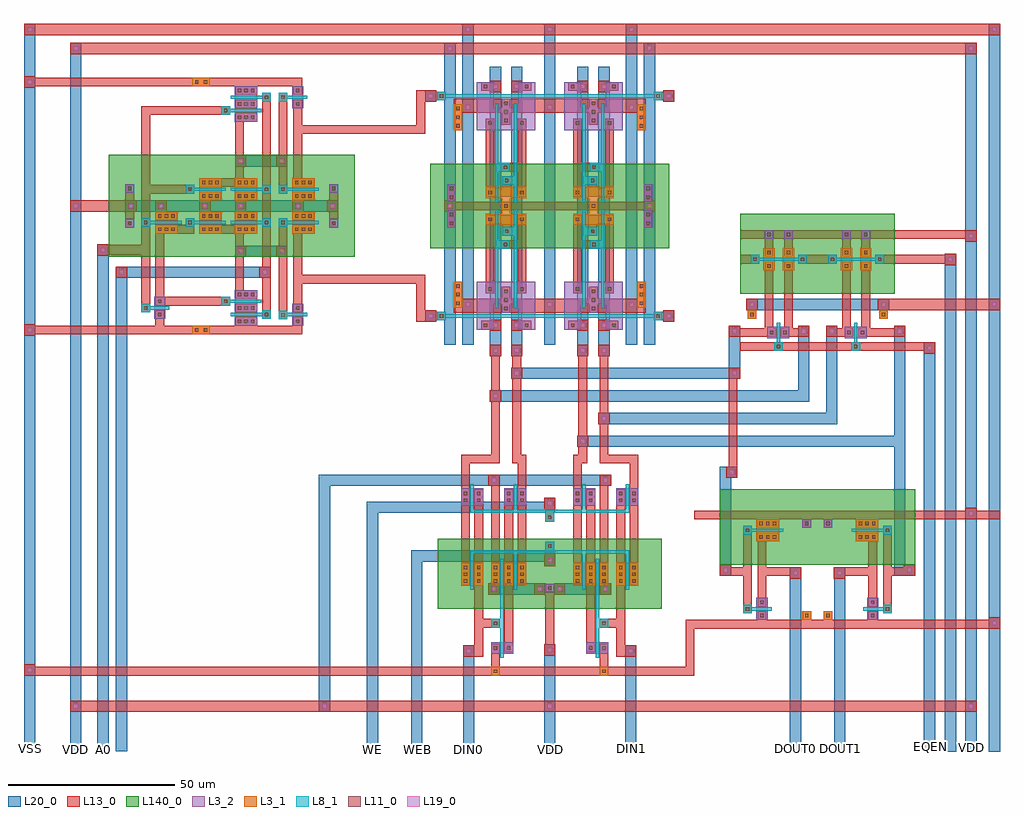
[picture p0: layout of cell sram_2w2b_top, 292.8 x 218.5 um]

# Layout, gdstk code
from math import pi, radians
import gdstk
lib = gdstk.Library(unit=1e-6, precision=1e-07)
def R(c, l, rs):  # rectangles x0, y0, x1, y1
    for r in rs: c.add(gdstk.rectangle(r[:2], r[2:], *l))
def A(c, l, x, y, w, h, nx, ny, dx, dy):  # array of equal rectangles
    R(c, l, [(x+i*dx, y+j*dy, x+i*dx+w, y+j*dy+h) for i in range(nx) for j in range(ny)])
def P(c, l, *ps):  # polygons
    for p in ps: c.add(gdstk.Polygon(p, *l))
L3_1 = (3, 1)
L3_2 = (3, 2)
L8_1 = (8, 1)
L11_0 = (11, 0)
L13_0 = (13, 0)
L19_0 = (19, 0)
L20_0 = (20, 0)
L140_0 = (140, 0)

fet_n = lib.new_cell('fet_n')
R(fet_n, L3_2, [(-3.3,-1.7,3.3,1.7)])
R(fet_n, L11_0, [(-2.5,-0.5,-1.5,0.5), (1.5,-0.5,2.5,0.5)])
R(fet_n, L13_0, [(-3.3,-1.3,-0.7,1.3), (0.7,-1.3,3.3,1.3)])
fet_n.add(gdstk.FlexPath([(0,-2.9),(0,2.9)], 1, ends="flush", simple_path=True, layer=8, datatype=1))  # L8_1

fet_p = lib.new_cell('fet_p')
R(fet_p, L3_1, [(-3.3,-3.4,3.3,3.4)])
A(fet_p, L11_0, -2.5, -2.5, 1, 1, 1, 3, 0, 2)
A(fet_p, L11_0, 1.5, -2.5, 1, 1, 1, 3, 0, 2)
R(fet_p, L13_0, [(-3.3,-3.3,-0.7,3.3), (0.7,-3.3,3.3,3.3)])
fet_p.add(gdstk.FlexPath([(0,-4.6),(0,4.6)], 1, ends="flush", simple_path=True, layer=8, datatype=1))  # L8_1

cont_g = lib.new_cell('cont_g')
R(cont_g, L8_1, [(-1.3,-1.3,1.3,1.3)])
R(cont_g, L11_0, [(-0.5,-0.5,0.5,0.5)])
R(cont_g, L13_0, [(-1.3,-1.3,1.3,1.3)])

fet_n_1 = lib.new_cell('fet_n$1')
R(fet_n_1, L3_2, [(-3.3,-3.4,3.3,3.4)])
A(fet_n_1, L11_0, -2.5, -2.5, 1, 1, 1, 3, 0, 2)
A(fet_n_1, L11_0, 1.5, -2.5, 1, 1, 1, 3, 0, 2)
R(fet_n_1, L13_0, [(-3.3,-3.3,-0.7,3.3), (0.7,-3.3,3.3,3.3)])
fet_n_1.add(gdstk.FlexPath([(0,-4.6),(0,4.6)], 1, ends="flush", simple_path=True, layer=8, datatype=1))  # L8_1

cont_p = lib.new_cell('cont_p')
R(cont_p, L3_1, [(-1.3,-1.3,1.3,1.3)])
R(cont_p, L11_0, [(-0.5,-0.5,0.5,0.5)])
R(cont_p, L13_0, [(-1.3,-1.3,1.3,1.3)])

via_1 = lib.new_cell('via_1')
R(via_1, L13_0, [(-1.7,-1.7,1.7,1.7)])
R(via_1, L19_0, [(-0.7,-0.7,0.7,0.7)])
R(via_1, L20_0, [(-1.7,-1.7,1.7,1.7)])

cont_n = lib.new_cell('cont_n')
R(cont_n, L3_2, [(-1.3,-1.3,1.3,1.3)])
R(cont_n, L11_0, [(-0.5,-0.5,0.5,0.5)])
R(cont_n, L13_0, [(-1.3,-1.3,1.3,1.3)])

decoder = lib.new_cell('decoder')
R(decoder, L8_1, [(28,-0.9,28.2,0.1), (35.8,-0.9,36,0.1), (18.6,3.1,18.8,4.1), (-5.4,26.7,-5.1,27.7), (7.9,26.7,8.1,27.7), (28,26.7,28.2,27.7), (35.8,26.7,36,27.7), (7.9,36.7,8.1,37.7), (28,36.7,28.2,37.7), (35.8,36.7,36,37.7), (18.6,60.3,18.8,61.3), (28,64.3,28.2,65.3), (35.8,64.3,36,65.3)])
R(decoder, L13_0, [(-12.3,-6.3,40.2,-3.7), (-3.8,-6.3,-1.2,0.9), (33.2,-1.8,35.8,25.9), (28.2,-1.7,30.8,66.1), (-3.8,2.3,18.6,4.9), (-8,2.9,-5.4,59.5), (37.6,2.9,40.2,23.9), (-3.8,4.9,-1.2,23.9), (20.1,6.9,22.7,23.9), (40.2,8.9,51,11.5), (-12.3,17.5,-8,20.6), (2.8,23.9,7.9,26.5), (9.4,23.9,26.7,26.5), (-12.8,28.3,-10.2,30.5), (48.4,28.3,51,30.5), (-12.8,30.5,-10.2,38.7), (48.4,30.5,51,38.7), (-8,35.9,5.3,38.5), (33.2,35.9,35.8,63.5), (9.4,37.9,26.7,40.5), (20.1,40.5,22.7,57.5), (37.6,40.5,40.2,61.5), (40.2,53.8,51,56.4), (-8,59.5,18.6,62.1), (-12.3,68.1,40.2,70.7)])
R(decoder, L20_0, [(-12.3,10.6,27.4,14), (23.5,16.9,32.4,20.3), (-12.3,30.5,51,33.9), (23.5,44,32.4,47.4)])
R(decoder, L140_0, [(-17.8,16.9,56,47.5)])
decoder.add(gdstk.Reference(fet_n, (-2.5,1.6), rotation=pi/2, x_reflection=True))
decoder.add(gdstk.Reference(fet_p, (-0.5,27.2), rotation=pi/2, x_reflection=True))
decoder.add(gdstk.Reference(cont_g, (-6.7,27.2), x_reflection=True))
decoder.add(gdstk.Reference(cont_g, (-6.7,1.6), x_reflection=True))
decoder.add(gdstk.Reference(fet_n_1, (23.4,-0.4), rotation=pi/2, x_reflection=True))
decoder.add(gdstk.Reference(fet_n_1, (23.4,3.6), rotation=3*pi/2, x_reflection=True))
decoder.add(gdstk.Reference(cont_g, (17.3,3.6), rotation=3*pi/2, x_reflection=True))
decoder.add(gdstk.Reference(cont_g, (29.5,-0.4), x_reflection=True))
decoder.add(gdstk.Reference(cont_p, (8.6,-5), x_reflection=True))
decoder.add(gdstk.Reference(fet_p, (12.7,27.2), rotation=3*pi/2, x_reflection=True))
decoder.add(gdstk.Reference(fet_p, (23.4,27.2), rotation=3*pi/2, x_reflection=True))
decoder.add(gdstk.Reference(fet_n, (38.9,-0.4), rotation=3*pi/2, x_reflection=True))
decoder.add(gdstk.Reference(cont_p, (11.2,-5), x_reflection=True))
decoder.add(gdstk.Reference(cont_g, (6.6,27.2), rotation=3*pi/2, x_reflection=True))
decoder.add(gdstk.Reference(cont_g, (29.5,27.2), rotation=3*pi/2, x_reflection=True))
decoder.add(gdstk.Reference(fet_p, (40.6,27.2), rotation=3*pi/2, x_reflection=True))
decoder.add(gdstk.Reference(cont_g, (34.5,27.2), rotation=3*pi/2, x_reflection=True))
decoder.add(gdstk.Reference(cont_g, (34.5,-0.5), rotation=3*pi/2, x_reflection=True))
decoder.add(gdstk.Reference(via_1, (21.8,18.6), rotation=3*pi/2, x_reflection=True))
decoder.add(gdstk.Reference(via_1, (34.1,18.6), rotation=3*pi/2, x_reflection=True))
decoder.add(gdstk.Reference(via_1, (29.1,12.3), rotation=3*pi/2, x_reflection=True))
decoder.add(gdstk.Reference(fet_p, (12.7,37.2), rotation=3*pi/2, x_reflection=True))
decoder.add(gdstk.Reference(fet_p, (23.4,37.2), rotation=3*pi/2, x_reflection=True))
decoder.add(gdstk.Reference(cont_g, (6.6,37.2), rotation=3*pi/2, x_reflection=True))
decoder.add(gdstk.Reference(cont_g, (29.5,37.2), rotation=3*pi/2, x_reflection=True))
decoder.add(gdstk.Reference(fet_p, (40.6,37.2), rotation=3*pi/2, x_reflection=True))
decoder.add(gdstk.Reference(cont_g, (34.5,37.2), rotation=3*pi/2, x_reflection=True))
decoder.add(gdstk.Reference(via_1, (21.8,45.7), rotation=3*pi/2, x_reflection=True))
decoder.add(gdstk.Reference(via_1, (34.1,45.7), rotation=3*pi/2, x_reflection=True))
decoder.add(gdstk.Reference(via_1, (-2.1,32.2), rotation=3*pi/2, x_reflection=True))
decoder.add(gdstk.Reference(via_1, (11.1,32.2), rotation=3*pi/2, x_reflection=True))
decoder.add(gdstk.Reference(via_1, (21.8,32.2), rotation=3*pi/2, x_reflection=True))
decoder.add(gdstk.Reference(via_1, (39,32.2), rotation=3*pi/2, x_reflection=True))
decoder.add(gdstk.Reference(fet_n_1, (23.4,60.8), rotation=pi/2, x_reflection=True))
decoder.add(gdstk.Reference(fet_n_1, (23.4,64.8), rotation=3*pi/2, x_reflection=True))
decoder.add(gdstk.Reference(cont_g, (17.3,60.8), rotation=3*pi/2, x_reflection=True))
decoder.add(gdstk.Reference(cont_g, (29.5,64.8), x_reflection=True))
decoder.add(gdstk.Reference(fet_n, (38.9,64.8), rotation=3*pi/2, x_reflection=True))
decoder.add(gdstk.Reference(cont_g, (34.5,64.8), rotation=3*pi/2, x_reflection=True))
decoder.add(gdstk.Reference(cont_p, (8.6,69.4), x_reflection=True))
decoder.add(gdstk.Reference(cont_p, (11.2,69.4), x_reflection=True))
decoder.add(gdstk.Reference(cont_n, (49.7,37.4), rotation=3*pi/2, x_reflection=True))
decoder.add(gdstk.Reference(via_1, (49.3,32.2), rotation=3*pi/2, x_reflection=True))
decoder.add(gdstk.Reference(cont_n, (49.7,27), rotation=3*pi/2, x_reflection=True))
decoder.add(gdstk.Reference(via_1, (-11.1,32.2), rotation=3*pi/2, x_reflection=True))
decoder.add(gdstk.Reference(cont_n, (-11.5,37.4), rotation=3*pi/2, x_reflection=True))
decoder.add(gdstk.Reference(cont_n, (-11.5,27), rotation=3*pi/2, x_reflection=True))
decoder.add(gdstk.Label('WL1', (50,55.2), layer=48, texttype=0))
decoder.add(gdstk.Label('VSS', (-11.4,69), layer=48, texttype=0))
decoder.add(gdstk.Label('A0', (-11.7,19), layer=48, texttype=0))
decoder.add(gdstk.Label('VSS', (-10.9,-5.4), layer=48, texttype=0))
decoder.add(gdstk.Label('WL0', (50,10.3), layer=48, texttype=0))
decoder.add(gdstk.Label('VDD', (-10.7,31.4), layer=49, texttype=0))
decoder.add(gdstk.Label('WLE', (-10,11.3), layer=49, texttype=0))

fet_p_1 = lib.new_cell('fet_p$1')
R(fet_p_1, L3_1, [(-3.3,-1.7,3.3,1.7)])
R(fet_p_1, L11_0, [(-2.5,-0.5,-1.5,0.5), (1.5,-0.5,2.5,0.5)])
R(fet_p_1, L13_0, [(-3.3,-1.3,-0.7,1.3), (0.7,-1.3,3.3,1.3)])
fet_p_1.add(gdstk.FlexPath([(0,-2.9),(0,2.9)], 1, ends="flush", simple_path=True, layer=8, datatype=1))  # L8_1

fet_n_2 = lib.new_cell('fet_n$2')
R(fet_n_2, L3_2, [(-3.3,-1.7,3.3,1.7)])
R(fet_n_2, L11_0, [(-2.5,-0.5,-1.5,0.5), (1.5,-0.5,2.5,0.5)])
R(fet_n_2, L13_0, [(-3.3,-1.3,-0.7,1.3), (0.7,-1.3,3.3,1.3)])
fet_n_2.add(gdstk.FlexPath([(0,-2.9),(0,2.9)], 1, ends="flush", simple_path=True, layer=8, datatype=1))  # L8_1

cont_g_1 = lib.new_cell('cont_g$1')
R(cont_g_1, L8_1, [(-1.3,-1.3,1.3,1.3)])
R(cont_g_1, L11_0, [(-0.5,-0.5,0.5,0.5)])
R(cont_g_1, L13_0, [(-1.3,-1.3,1.3,1.3)])

cont_n_1 = lib.new_cell('cont_n$1')
R(cont_n_1, L3_2, [(-1.3,-1.3,1.3,1.3)])
R(cont_n_1, L11_0, [(-0.5,-0.5,0.5,0.5)])
R(cont_n_1, L13_0, [(-1.3,-1.3,1.3,1.3)])

cont_p_1 = lib.new_cell('cont_p$1')
R(cont_p_1, L3_1, [(-1.3,-1.3,1.3,1.3)])
R(cont_p_1, L11_0, [(-0.5,-0.5,0.5,0.5)])
R(cont_p_1, L13_0, [(-1.3,-1.3,1.3,1.3)])

precharge = lib.new_cell('precharge')
R(precharge, L13_0, [(-8.7,-27.5,37.5,-24.9), (-8.7,-23.3,-0.5,-20.7), (-1.3,-23.3,1.3,-3.3), (3.5,-23.3,11.7,-20.7), (4.5,-23.3,7.1,-3.3), (17.1,-23.3,25.3,-20.7), (21.9,-23.3,24.5,-3.3), (27.7,-23.3,30.3,-3.3), (29.3,-23.3,37.5,-20.7), (-8.7,-1.3,-5.5,1.3), (11.3,-1.3,17.7,1.3), (34.5,-1.3,37.7,1.3), (-1.3,3.3,1.3,6.1), (4.5,3.3,7.1,6.1), (21.9,3.3,24.5,6.1), (27.7,3.3,30.3,6.1), (-8.7,6.1,14.5,8.7), (14.5,6.1,37.7,8.7)])
R(precharge, L140_0, [(-8.7,-10.3,14.5,13.7), (14.5,-10.3,37.7,13.7)])
precharge.add(gdstk.Reference(fet_p_1, (0,0), rotation=pi/2, x_reflection=True))
precharge.add(gdstk.Reference(fet_p_1, (5.8,0), rotation=pi/2, x_reflection=True))
precharge.add(gdstk.Reference(fet_n_2, (2.8,-22), x_reflection=True))
precharge.add(gdstk.Reference(cont_g_1, (2.8,-26.2), x_reflection=True))
precharge.add(gdstk.Reference(cont_g_1, (-4.2,0), x_reflection=True))
precharge.add(gdstk.Reference(cont_g_1, (10,0), x_reflection=True))
precharge.add(gdstk.Reference(cont_n_1, (0,7.4), x_reflection=True))
precharge.add(gdstk.Reference(cont_n_1, (5.8,7.4), x_reflection=True))
precharge.add(gdstk.Reference(fet_p_1, (23.2,0), rotation=pi/2, x_reflection=True))
precharge.add(gdstk.Reference(fet_p_1, (29,0), rotation=pi/2, x_reflection=True))
precharge.add(gdstk.Reference(fet_n_2, (26,-22), x_reflection=True))
precharge.add(gdstk.Reference(cont_g_1, (26,-26.2), x_reflection=True))
precharge.add(gdstk.Reference(cont_g_1, (19,0), x_reflection=True))
precharge.add(gdstk.Reference(cont_g_1, (33.2,0), x_reflection=True))
precharge.add(gdstk.Reference(cont_n_1, (23.2,7.4), x_reflection=True))
precharge.add(gdstk.Reference(cont_n_1, (29,7.4), x_reflection=True))
precharge.add(gdstk.Reference(cont_p_1, (-5.1,-16.6), x_reflection=True))
precharge.add(gdstk.Reference(cont_p_1, (34.3,-16.6), x_reflection=True))
precharge.add(gdstk.Label('VSS', (34,-16.6), layer=48, texttype=0))
precharge.add(gdstk.Label('BLB0', (-8.2,-22.6), layer=48, texttype=0))
precharge.add(gdstk.Label('BL0', (8.2,-22.5), layer=48, texttype=0))
precharge.add(gdstk.Label('VDD', (-7.9,6.8), layer=48, texttype=0))
precharge.add(gdstk.Label('PCB', (-8,-0.6), layer=48, texttype=0))
precharge.add(gdstk.Label('VSS', (-5.1,-16.6), layer=48, texttype=0))
precharge.add(gdstk.Label('BL1', (17.3,-22.6), layer=48, texttype=0))
precharge.add(gdstk.Label('BLB1', (32.2,-22.6), layer=48, texttype=0))
precharge.add(gdstk.Label('EQEN', (-7.8,-26.7), layer=48, texttype=0))

fet_n_3 = lib.new_cell('fet_n$3')
R(fet_n_3, L3_2, [(-3.3,-1.7,3.3,1.7)])
R(fet_n_3, L11_0, [(-2.5,-0.5,-1.5,0.5), (1.5,-0.5,2.5,0.5)])
R(fet_n_3, L13_0, [(-3.3,-1.3,-0.7,1.3), (0.7,-1.3,3.3,1.3)])
fet_n_3.add(gdstk.FlexPath([(0,-2.9),(0,2.9)], 1, ends="flush", simple_path=True, layer=8, datatype=1))  # L8_1

fet_p_2 = lib.new_cell('fet_p$2')
R(fet_p_2, L3_1, [(-3.3,-3.4,3.3,3.4)])
A(fet_p_2, L11_0, -2.5, -2.5, 1, 1, 1, 3, 0, 2)
A(fet_p_2, L11_0, 1.5, -2.5, 1, 1, 1, 3, 0, 2)
R(fet_p_2, L13_0, [(-3.3,-3.3,-0.7,3.3), (0.7,-3.3,3.3,3.3)])
fet_p_2.add(gdstk.FlexPath([(0,-4.6),(0,4.6)], 1, ends="flush", simple_path=True, layer=8, datatype=1))  # L8_1

cont_g_2 = lib.new_cell('cont_g$2')
R(cont_g_2, L8_1, [(-1.3,-1.3,1.3,1.3)])
R(cont_g_2, L11_0, [(-0.5,-0.5,0.5,0.5)])
R(cont_g_2, L13_0, [(-1.3,-1.3,1.3,1.3)])

cont_n_2 = lib.new_cell('cont_n$2')
R(cont_n_2, L3_2, [(-1.3,-1.3,1.3,1.3)])
R(cont_n_2, L11_0, [(-0.5,-0.5,0.5,0.5)])
R(cont_n_2, L13_0, [(-1.3,-1.3,1.3,1.3)])

cont_p_2 = lib.new_cell('cont_p$2')
R(cont_p_2, L3_1, [(-1.3,-1.3,1.3,1.3)])
R(cont_p_2, L11_0, [(-0.5,-0.5,0.5,0.5)])
R(cont_p_2, L13_0, [(-1.3,-1.3,1.3,1.3)])

read_buffer = lib.new_cell('read_buffer')
R(read_buffer, L8_1, [(2,0.8,2.2,1.8), (41.2,0.8,41.4,1.8), (2,24.4,2.2,25.4), (41.2,24.4,41.4,25.4)])
R(read_buffer, L13_0, [(-15.2,-4.6,51,-2), (-0.6,0,2,26.2), (41.4,0,44,26.2), (3.8,4.6,6.4,21.6), (37,4.6,39.6,21.6), (-7.6,11.2,-0.6,13.8), (6.4,11.2,13.4,13.8), (30,11.2,37,13.8), (44,11.2,51,13.8), (-15.2,28.2,51,30.8)])
R(read_buffer, L140_0, [(-7.6,14.6,17.2,37.2), (17.2,14.6,26.2,37.2), (26.2,14.6,51,37.2)])
read_buffer.add(gdstk.Reference(fet_n_3, (5.1,1.3), rotation=3*pi/2, x_reflection=True))
read_buffer.add(gdstk.Reference(fet_p_2, (6.8,24.9), rotation=3*pi/2, x_reflection=True))
read_buffer.add(gdstk.Reference(cont_g_2, (0.7,24.9), rotation=3*pi/2, x_reflection=True))
read_buffer.add(gdstk.Reference(cont_g_2, (0.7,1.3), rotation=3*pi/2, x_reflection=True))
read_buffer.add(gdstk.Reference(cont_n_2, (18.5,26.9), rotation=3*pi/2, x_reflection=True))
read_buffer.add(gdstk.Reference(fet_n_3, (38.3,1.3), rotation=3*pi/2))
read_buffer.add(gdstk.Reference(fet_p_2, (36.6,24.9), rotation=3*pi/2))
read_buffer.add(gdstk.Reference(cont_g_2, (42.7,24.9), rotation=3*pi/2))
read_buffer.add(gdstk.Reference(cont_g_2, (42.7,1.3), rotation=3*pi/2))
read_buffer.add(gdstk.Reference(cont_n_2, (24.9,26.9), rotation=3*pi/2, x_reflection=True))
read_buffer.add(gdstk.Reference(cont_p_2, (18.5,-0.7), rotation=3*pi/2, x_reflection=True))
read_buffer.add(gdstk.Reference(cont_p_2, (24.9,-0.7), rotation=3*pi/2, x_reflection=True))
read_buffer.add(gdstk.Label('BLB0', (-7,12), layer=48, texttype=0))
read_buffer.add(gdstk.Label('DOUT0', (7.7,11.9), layer=48, texttype=0))
read_buffer.add(gdstk.Label('VSS', (-6.1,-3.8), layer=48, texttype=0))
read_buffer.add(gdstk.Label('VDD', (-6,29.1), layer=48, texttype=0))
read_buffer.add(gdstk.Label('BLB1', (50.4,12), layer=48, texttype=0))
read_buffer.add(gdstk.Label('DOUT1', (35.7,11.9), layer=48, texttype=0))

cont_p_3 = lib.new_cell('cont_p$3')
R(cont_p_3, L3_1, [(-1.3,-1.3,1.3,1.3)])
R(cont_p_3, L11_0, [(-0.5,-0.5,0.5,0.5)])
R(cont_p_3, L13_0, [(-1.3,-1.3,1.3,1.3)])

cont_n_3 = lib.new_cell('cont_n$3')
R(cont_n_3, L3_2, [(-1.3,-1.3,1.3,1.3)])
R(cont_n_3, L11_0, [(-0.5,-0.5,0.5,0.5)])
R(cont_n_3, L13_0, [(-1.3,-1.3,1.3,1.3)])

cont_g_3 = lib.new_cell('cont_g$3')
R(cont_g_3, L8_1, [(-1.3,-1.3,1.3,1.3)])
R(cont_g_3, L11_0, [(-0.5,-0.5,0.5,0.5)])
R(cont_g_3, L13_0, [(-1.3,-1.3,1.3,1.3)])

via_1_1 = lib.new_cell('via_1$1')
R(via_1_1, L13_0, [(-1.7,-1.7,1.7,1.7)])
R(via_1_1, L19_0, [(-0.7,-0.7,0.7,0.7)])
R(via_1_1, L20_0, [(-1.7,-1.7,1.7,1.7)])

sram6t_tr10 = lib.new_cell('sram6t_tr10')
R(sram6t_tr10, L3_1, [(-405.9,10196.3,-393.7,10199.7), (-401.1,10199.7,-398.5,10200.7)])
R(sram6t_tr10, L3_2, [(-408.6,10164.9,-403.5,10172.5), (-396.1,10164.9,-391,10172.5), (-408.6,10172.5,-391,10179.3)])
R(sram6t_tr10, L8_1, [(-412.9,10168.5,-386.7,10169.5), (-403.1,10171.3,-402.1,10200.9), (-397.5,10171.3,-396.5,10200.9), (-402.1,10189.1,-401.3,10191.7), (-398.3,10193.1,-397.5,10195.7)])
R(sram6t_tr10, L13_0, [(-412.9,10169.9,-386.7,10174.1), (-401.1,10172.5,-398.5,10177.7), (-405.9,10175.8,-403.3,10196.7), (-396.3,10175.8,-393.7,10196.7), (-398.7,10189.1,-396.3,10191.7), (-400.9,10195.6,-398.3,10196.7), (-403.3,10196.7,-398.3,10199.3), (-412.9,10200.7,-386.7,10203.3)])
R(sram6t_tr10, L20_0, [(-412.9,10164.5,-409.5,10202), (-388.4,10164.5,-385,10202), (-404.7,10167.9,-401.3,10202), (-398.3,10167.9,-394.9,10202)])
R(sram6t_tr10, L140_0, [(-412.9,10189.3,-386.7,10210.3)])
r = gdstk.Reference(cont_p_3, (-399.8,10202)); r.repetition = gdstk.Repetition(1, 1, v1=(0,0), v2=(0,0)); sram6t_tr10.add(r)
r = gdstk.Reference(cont_p_3, (-395,10198)); r.repetition = gdstk.Repetition(1, 1, v1=(0,0), v2=(0,0)); sram6t_tr10.add(r)
r = gdstk.Reference(cont_p_3, (-404.6,10198)); r.repetition = gdstk.Repetition(1, 1, v1=(0,0), v2=(0,0)); sram6t_tr10.add(r)
r = gdstk.Reference(cont_n_3, (-395,10177.1)); r.repetition = gdstk.Repetition(1, 1, v1=(0,0), v2=(0,0)); sram6t_tr10.add(r)
r = gdstk.Reference(cont_n_3, (-399.8,10171.2)); r.repetition = gdstk.Repetition(1, 1, v1=(0,0), v2=(0,0)); sram6t_tr10.add(r)
r = gdstk.Reference(cont_n_3, (-404.6,10177.1)); r.repetition = gdstk.Repetition(1, 1, v1=(0,0), v2=(0,0)); sram6t_tr10.add(r)
r = gdstk.Reference(cont_g_3, (-399.6,10194.4)); r.repetition = gdstk.Repetition(1, 1, v1=(0,0), v2=(0,0)); sram6t_tr10.add(r)
r = gdstk.Reference(cont_g_3, (-400,10190.4)); r.repetition = gdstk.Repetition(1, 1, v1=(0,0), v2=(0,0)); sram6t_tr10.add(r)
r = gdstk.Reference(cont_n_3, (-406,10166.2)); r.repetition = gdstk.Repetition(1, 1, v1=(0,0), v2=(0,0)); sram6t_tr10.add(r)
r = gdstk.Reference(cont_n_3, (-393.6,10166.2)); r.repetition = gdstk.Repetition(1, 1, v1=(0,0), v2=(0,0)); sram6t_tr10.add(r)
r = gdstk.Reference(via_1_1, (-386.7,10172.4)); r.repetition = gdstk.Repetition(1, 1, v1=(0,0), v2=(0,0)); sram6t_tr10.add(r)
r = gdstk.Reference(via_1_1, (-396.6,10166.2)); r.repetition = gdstk.Repetition(1, 1, v1=(0,0), v2=(0,0)); sram6t_tr10.add(r)
r = gdstk.Reference(via_1_1, (-403,10166.2)); r.repetition = gdstk.Repetition(1, 1, v1=(0,0), v2=(0,0)); sram6t_tr10.add(r)
r = gdstk.Reference(cont_n_3, (-399.8,10173.8)); r.repetition = gdstk.Repetition(1, 1, v1=(0,0), v2=(0,0)); sram6t_tr10.add(r)
r = gdstk.Reference(cont_n_3, (-399.8,10176.4)); r.repetition = gdstk.Repetition(1, 1, v1=(0,0), v2=(0,0)); sram6t_tr10.add(r)
r = gdstk.Reference(via_1_1, (-411.2,10172.4)); r.repetition = gdstk.Repetition(1, 1, v1=(0,0), v2=(0,0)); sram6t_tr10.add(r)
sram6t_tr10.add(gdstk.Label('WL', (-400.9,10168.9), layer=48, texttype=0))
sram6t_tr10.add(gdstk.Label('Q', (-405,10184.4), layer=48, texttype=0))
sram6t_tr10.add(gdstk.Label('QB', (-395.1,10182.8), layer=48, texttype=0))
sram6t_tr10.add(gdstk.Label('VSS', (-411.7,10171), layer=48, texttype=0))
sram6t_tr10.add(gdstk.Label('BL', (-405.9,10166.3), layer=48, texttype=0))
sram6t_tr10.add(gdstk.Label('BLB', (-393.4,10166.1), layer=48, texttype=0))
sram6t_tr10.add(gdstk.Label('VDD', (-411.2,10201.8), layer=48, texttype=0))

sram_2w2b = lib.new_cell('sram_2w2b')
R(sram_2w2b, L8_1, [(-419.7,10168.5,-412.9,10169.5), (-419.7,10168.5,-412.9,10169.5), (-360.5,10168.5,-353.7,10169.5), (-419.7,10234.5,-412.9,10235.5), (-360.5,10234.5,-353.7,10235.5)])
R(sram_2w2b, L13_0, [(-420.7,10167.7,-420.5,10170.3), (-420.7,10167.7,-420.5,10170.3), (-352.9,10167.7,-352.7,10170.3), (-352.9,10167.7,-352.7,10170.3), (-352.9,10167.7,-352.7,10170.3), (-352.9,10167.7,-352.7,10170.3), (-415.5,10169.9,-412.9,10171.5), (-360.5,10169.9,-357.9,10171.5), (-417.5,10200.7,-412.9,10203.3), (-360.5,10200.7,-355.9,10203.3), (-415.5,10232.5,-412.9,10234.1), (-360.5,10232.5,-357.9,10234.1), (-420.7,10233.7,-420.5,10236.3), (-352.9,10233.7,-352.7,10236.3), (-352.9,10233.7,-352.7,10236.3), (-352.9,10233.7,-352.7,10236.3), (-352.9,10233.7,-352.7,10236.3)])
A(sram_2w2b, L20_0, -398.3, 10160.3, 3.4, 4.2, 3, 2, 9.9, 79.2)
R(sram_2w2b, L20_0, [(-418.3,10160.3,-414.9,10164.5), (-412.9,10160.3,-409.5,10164.5), (-404.7,10160.3,-401.3,10164.5), (-404.7,10160.3,-401.3,10164.5), (-398.3,10160.3,-394.9,10164.5), (-378.5,10160.3,-375.1,10164.5), (-372.1,10160.3,-368.7,10164.5), (-372.1,10160.3,-368.7,10164.5), (-363.9,10160.3,-360.5,10164.5), (-358.5,10160.3,-355.1,10164.5), (-418.3,10164.5,-414.9,10200.3), (-358.5,10164.5,-355.1,10200.3), (-418.3,10203.7,-414.9,10239.5), (-358.5,10203.7,-355.1,10239.5), (-418.3,10239.5,-414.9,10243.7), (-412.9,10239.5,-409.5,10243.7), (-404.7,10239.5,-401.3,10243.7), (-404.7,10239.5,-401.3,10243.7), (-398.3,10239.5,-394.9,10243.7), (-378.5,10239.5,-375.1,10243.7), (-372.1,10239.5,-368.7,10243.7), (-372.1,10239.5,-368.7,10243.7), (-363.9,10239.5,-360.5,10243.7), (-358.5,10239.5,-355.1,10243.7)])
R(sram_2w2b, L140_0, [(-422.5,10189.3,-412.9,10214.7), (-360.5,10189.3,-350.9,10214.7)])
sram_2w2b.add(gdstk.Reference(sram6t_tr10, (0,0)))
sram_2w2b.add(gdstk.Reference(sram6t_tr10, (-773.4,0), rotation=pi, x_reflection=True))
sram_2w2b.add(gdstk.Reference(sram6t_tr10, (-773.4,20404), rotation=pi))
sram_2w2b.add(gdstk.Reference(sram6t_tr10, (0,20404), x_reflection=True))
sram_2w2b.add(gdstk.Reference(cont_n_3, (-416.2,10204.6), x_reflection=True))
sram_2w2b.add(gdstk.Reference(cont_n_3, (-416.2,10199.4), x_reflection=True))
sram_2w2b.add(gdstk.Reference(via_1_1, (-416.6,10202), x_reflection=True))
sram_2w2b.add(gdstk.Reference(cont_n_3, (-416.2,10207.2), x_reflection=True))
sram_2w2b.add(gdstk.Reference(cont_n_3, (-416.2,10196.8), x_reflection=True))
sram_2w2b.add(gdstk.Reference(cont_p_3, (-414.2,10172.8), x_reflection=True))
sram_2w2b.add(gdstk.Reference(cont_p_3, (-414.2,10175.4), x_reflection=True))
sram_2w2b.add(gdstk.Reference(cont_p_3, (-414.2,10178), x_reflection=True))
sram_2w2b.add(gdstk.Reference(cont_p_3, (-414.2,10226), x_reflection=True))
sram_2w2b.add(gdstk.Reference(cont_p_3, (-414.2,10228.6), x_reflection=True))
sram_2w2b.add(gdstk.Reference(cont_p_3, (-414.2,10231.2), x_reflection=True))
sram_2w2b.add(gdstk.Reference(cont_n_3, (-357.2,10204.6), x_reflection=True))
sram_2w2b.add(gdstk.Reference(cont_n_3, (-357.2,10199.4), x_reflection=True))
sram_2w2b.add(gdstk.Reference(via_1_1, (-356.8,10202), x_reflection=True))
sram_2w2b.add(gdstk.Reference(cont_n_3, (-357.2,10207.2), x_reflection=True))
sram_2w2b.add(gdstk.Reference(cont_n_3, (-357.2,10196.8), x_reflection=True))
sram_2w2b.add(gdstk.Reference(cont_p_3, (-359.2,10172.8), x_reflection=True))
sram_2w2b.add(gdstk.Reference(cont_p_3, (-359.2,10175.4), x_reflection=True))
sram_2w2b.add(gdstk.Reference(cont_p_3, (-359.2,10178), x_reflection=True))
sram_2w2b.add(gdstk.Reference(cont_p_3, (-359.2,10226), x_reflection=True))
sram_2w2b.add(gdstk.Reference(cont_p_3, (-359.2,10228.6), x_reflection=True))
sram_2w2b.add(gdstk.Reference(cont_p_3, (-359.2,10231.2), x_reflection=True))
sram_2w2b.add(gdstk.Reference(via_1_1, (-422.4,10169), x_reflection=True))
sram_2w2b.add(gdstk.Reference(via_1_1, (-422.4,10235), x_reflection=True))
sram_2w2b.add(gdstk.Reference(cont_g_3, (-419.2,10235), x_reflection=True))
sram_2w2b.add(gdstk.Reference(cont_g_3, (-419.2,10169), x_reflection=True))
sram_2w2b.add(gdstk.Reference(cont_g_3, (-419.2,10169), x_reflection=True))
sram_2w2b.add(gdstk.Reference(cont_g_3, (-354.2,10169), x_reflection=True))
sram_2w2b.add(gdstk.Reference(cont_g_3, (-354.2,10235), x_reflection=True))
sram_2w2b.add(gdstk.Reference(via_1_1, (-351,10169), x_reflection=True))
sram_2w2b.add(gdstk.Reference(via_1_1, (-351,10169), x_reflection=True))
sram_2w2b.add(gdstk.Reference(via_1_1, (-351,10235), x_reflection=True))
sram_2w2b.add(gdstk.Reference(via_1_1, (-351,10235), x_reflection=True))
sram_2w2b.add(gdstk.Label('WL0', (-422.4,10169), layer=49, texttype=0))
sram_2w2b.add(gdstk.Label('VDD', (-416.5,10161), layer=49, texttype=0))
sram_2w2b.add(gdstk.Label('VSS', (-410.9,10161), layer=49, texttype=0))
sram_2w2b.add(gdstk.Label('BL0', (-403,10161), layer=49, texttype=0))
sram_2w2b.add(gdstk.Label('BLB0', (-396.5,10161), layer=49, texttype=0))
sram_2w2b.add(gdstk.Label('VSS', (-386.7,10161), layer=49, texttype=0))
sram_2w2b.add(gdstk.Label('BLB1', (-376.5,10161), layer=49, texttype=0))
sram_2w2b.add(gdstk.Label('BL1', (-370.2,10161), layer=49, texttype=0))
sram_2w2b.add(gdstk.Label('VSS', (-362.1,10161), layer=49, texttype=0))
sram_2w2b.add(gdstk.Label('VDD', (-356.7,10161), layer=49, texttype=0))
sram_2w2b.add(gdstk.Label('WL0', (-350.9,10169), layer=49, texttype=0))
sram_2w2b.add(gdstk.Label('WL1', (-422.3,10235), layer=49, texttype=0))
sram_2w2b.add(gdstk.Label('WL1', (-350.9,10235), layer=49, texttype=0))

fet_n_2_1 = lib.new_cell('fet_n$2$1')
R(fet_n_2_1, L3_2, [(-3.3,-2.6,3.3,2.6)])
R(fet_n_2_1, L11_0, [(-2.5,-1.5,-1.5,-0.5), (1.5,-1.5,2.5,-0.5), (-2.5,0.5,-1.5,1.5), (1.5,0.5,2.5,1.5)])
R(fet_n_2_1, L13_0, [(-3.3,-2.3,-0.7,2.3), (0.7,-2.3,3.3,2.3)])
fet_n_2_1.add(gdstk.FlexPath([(0,-3.8),(0,3.8)], 1, ends="flush", simple_path=True, layer=8, datatype=1))  # L8_1

fet_p_3 = lib.new_cell('fet_p$3')
R(fet_p_3, L3_1, [(-3.3,-3.4,3.3,3.4)])
A(fet_p_3, L11_0, -2.5, -2.5, 1, 1, 1, 3, 0, 2)
A(fet_p_3, L11_0, 1.5, -2.5, 1, 1, 1, 3, 0, 2)
R(fet_p_3, L13_0, [(-3.3,-3.3,-0.7,3.3), (0.7,-3.3,3.3,3.3)])
fet_p_3.add(gdstk.FlexPath([(0,-4.6),(0,4.6)], 1, ends="flush", simple_path=True, layer=8, datatype=1))  # L8_1

fet_n_4 = lib.new_cell('fet_n$4')
R(fet_n_4, L3_2, [(-3.3,-1.7,3.3,1.7)])
R(fet_n_4, L11_0, [(-2.5,-0.5,-1.5,0.5), (1.5,-0.5,2.5,0.5)])
R(fet_n_4, L13_0, [(-3.3,-1.3,-0.7,1.3), (0.7,-1.3,3.3,1.3)])
fet_n_4.add(gdstk.FlexPath([(0,-2.9),(0,2.9)], 1, ends="flush", simple_path=True, layer=8, datatype=1))  # L8_1

cont_g_4 = lib.new_cell('cont_g$4')
R(cont_g_4, L8_1, [(-1.3,-1.3,1.3,1.3)])
R(cont_g_4, L11_0, [(-0.5,-0.5,0.5,0.5)])
R(cont_g_4, L13_0, [(-1.3,-1.3,1.3,1.3)])

cont_p_4 = lib.new_cell('cont_p$4')
R(cont_p_4, L3_1, [(-1.3,-1.3,1.3,1.3)])
R(cont_p_4, L11_0, [(-0.5,-0.5,0.5,0.5)])
R(cont_p_4, L13_0, [(-1.3,-1.3,1.3,1.3)])

cont_n_4 = lib.new_cell('cont_n$4')
R(cont_n_4, L3_2, [(-1.3,-1.3,1.3,1.3)])
R(cont_n_4, L11_0, [(-0.5,-0.5,0.5,0.5)])
R(cont_n_4, L13_0, [(-1.3,-1.3,1.3,1.3)])

via_1_2 = lib.new_cell('via_1$2')
R(via_1_2, L13_0, [(-1.7,-1.7,1.7,1.7)])
R(via_1_2, L19_0, [(-0.7,-0.7,0.7,0.7)])
R(via_1_2, L20_0, [(-1.7,-1.7,1.7,1.7)])

write_driver = lib.new_cell('write_driver')
R(write_driver, L8_1, [(-1.7,-20.4,-0.7,-5.8), (26.9,-20.4,27.9,-5.8), (-1.9,-17.2,-1.7,-14.6), (27.9,-17.2,28.1,-14.6), (-10.7,3.4,-9.7,6), (2.3,3.4,3.3,6), (22.9,3.4,23.9,6), (35.9,3.4,36.9,6), (-10.7,5,36.9,6), (-10.7,17.2,36.9,18.2)])
R(write_driver, L13_0, [(-4.5,-29,-1.9,-22), (28.1,-29,30.7,-22), (-9.5,-25.9,-6.9,-4.5), (33.1,-25.9,35.7,2.1), (11.8,-22.2,14.4,-6.6), (24.1,-22.1,26.7,2.1), (-0.5,-22,2.1,2.2), (-6.9,-17.2,-4.5,-14.6), (30.7,-17.2,33.1,-14.6), (-13.5,2.1,-10.9,19.7), (-9.5,2.1,-6.9,19.7), (-4.5,2.1,-1.9,11), (-0.5,2.1,2.1,24.3), (3.5,2.1,6.1,19.7), (20.1,2.1,22.7,19.7), (24.1,2.1,26.7,24.3), (28.1,2.1,30.7,11), (33.1,2.1,35.7,19.7), (37.1,2.1,39.7,19.7), (-13.5,24.3,-10.9,32.1), (3.5,24.3,6.1,32.1), (20.1,24.3,22.7,32.1), (37.1,24.3,39.7,32.1)])
R(write_driver, L20_0, [(-5.3,-7.3,11.8,-3.9), (17.8,-7.3,28.1,-3.9)])
R(write_driver, L140_0, [(-20.5,-11.6,13.1,9.4), (13.1,-11.6,46.7,9.4)])
write_driver.add(gdstk.Reference(fet_n_2_1, (2.8,22)))
write_driver.add(gdstk.Reference(fet_p_3, (2.8,-1.2)))
write_driver.add(gdstk.Reference(fet_p_3, (-10.2,-1.2)))
write_driver.add(gdstk.Reference(fet_n_2_1, (-10.2,22)))
write_driver.add(gdstk.Reference(fet_n_2_1, (23.4,22), rotation=pi, x_reflection=True))
write_driver.add(gdstk.Reference(fet_p_3, (23.4,-1.2), rotation=pi, x_reflection=True))
write_driver.add(gdstk.Reference(fet_p_3, (36.4,-1.2), rotation=pi, x_reflection=True))
write_driver.add(gdstk.Reference(fet_n_2_1, (36.4,22), rotation=pi, x_reflection=True))
write_driver.add(gdstk.Reference(fet_p_3, (-1.2,-1.2), rotation=pi))
write_driver.add(gdstk.Reference(fet_n_4, (-1.2,-23.3), rotation=pi))
write_driver.add(gdstk.Reference(fet_p_3, (27.4,-1.2), x_reflection=True))
write_driver.add(gdstk.Reference(cont_g_4, (-3.2,-15.9), rotation=pi))
write_driver.add(gdstk.Reference(fet_n_4, (27.4,-23.3), x_reflection=True))
write_driver.add(gdstk.Reference(cont_g_4, (29.4,-15.9), x_reflection=True))
write_driver.add(gdstk.Reference(cont_g_4, (13.1,7.3), x_reflection=True))
write_driver.add(gdstk.Reference(cont_p_4, (-3.2,-30.3), rotation=pi))
write_driver.add(gdstk.Reference(cont_n_4, (13.1,-5.3), x_reflection=True))
write_driver.add(gdstk.Reference(cont_p_4, (29.4,-30.3), rotation=pi))
write_driver.add(gdstk.Reference(cont_g_4, (13.1,15.9), x_reflection=True))
write_driver.add(gdstk.Reference(via_1_2, (-3.6,-5.6), x_reflection=True))
write_driver.add(gdstk.Reference(via_1_2, (10.1,-5.6), x_reflection=True))
write_driver.add(gdstk.Reference(via_1_2, (16.1,-5.6), x_reflection=True))
write_driver.add(gdstk.Reference(via_1_2, (29.8,-5.6), x_reflection=True))
write_driver.add(gdstk.Label('VSS', (29.2,-30.4), layer=48, texttype=0))
write_driver.add(gdstk.Label('VSS', (-3.6,-30.4), layer=48, texttype=0))
write_driver.add(gdstk.Label('DIN0', (-8.3,-24.9), layer=48, texttype=0))
write_driver.add(gdstk.Label('DIN1', (34.6,-24.2), layer=48, texttype=0))
write_driver.add(gdstk.Label('VDD', (-3.6,9.5), layer=48, texttype=0))
write_driver.add(gdstk.Label('VDD', (29.3,10.3), layer=48, texttype=0))
write_driver.add(gdstk.Label('BL0', (-12.6,30.1), layer=48, texttype=0))
write_driver.add(gdstk.Label('BLB0', (4.6,30.2), layer=48, texttype=0))
write_driver.add(gdstk.Label('BL1', (38.6,30.9), layer=48, texttype=0))
write_driver.add(gdstk.Label('BLB1', (21.3,30.9), layer=48, texttype=0))
write_driver.add(gdstk.Label('VDD', (13.2,-21.4), layer=48, texttype=0))
write_driver.add(gdstk.Label('WEB', (13.1,7.4), layer=48, texttype=0))
write_driver.add(gdstk.Label('WE', (13.1,16), layer=48, texttype=0))

via_1_3 = lib.new_cell('via_1$3')
R(via_1_3, L13_0, [(-1.7,-1.7,1.7,1.7)])
R(via_1_3, L19_0, [(-0.7,-0.7,0.7,0.7)])
R(via_1_3, L20_0, [(-1.7,-1.7,1.7,1.7)])

sram_2w2b_top = lib.new_cell('sram_2w2b_top')
R(sram_2w2b_top, L13_0, [(-144.1,52.1,124.5,55.5), (-161.2,63,-21.2,65.6), (-18.6,63,39.8,65.6), (37.2,65.6,39.8,79.7), (106,77.1,131.5,79.7), (-4.9,99.2,-2.3,100.6), (-21.2,105.6,-18.6,119.9), (11.4,105.6,14,119.9), (106,109.9,131.5,112.5), (-4.9,111.8,-2.3,113), (50.1,125.7,52.7,152), (-30.2,126.7,-18.6,129.3), (-14.8,126.7,-10.6,129.3), (3.4,126.7,7.6,129.3), (11.4,126.7,23,129.3), (-21.2,129.3,-18.6,158.8), (-14.8,129.3,-12.2,158.8), (5,129.3,7.6,158.8), (11.4,129.3,14,158.8), (99.7,160.4,112,163), (-157.9,165.4,-130.4,168), (-43.6,169.2,-41,183.2), (98.2,172.6,131.5,176), (-67.1,180.6,-43.6,183.2), (99.9,186.6,114.9,189.2), (-135.9,189.2,-130.4,192.3), (99.9,194,101.7,196.6), (101.7,194,124.5,196.6), (-144.1,202.2,-130.9,205.6), (-67.1,225.5,-43.6,228.1), (-43.6,225.5,-41,238.6), (-157.9,239.8,-130.4,242.4), (-144.1,249.4,124.5,252.8), (-161.3,255.1,131.5,258.5)])
A(sram_2w2b_top, L20_0, -29.8, 245.6, 3.4, 9.5, 3, 1, 24.5, 0)
R(sram_2w2b_top, L20_0, [(-147.5,40,-144.1,202.2), (-139.3,40.2,-135.9,189), (-58.5,40.2,-55.1,115.2), (-45.2,40.2,-41.8,100.6), (-29.6,40.2,-26.2,68.7), (-5.3,40.2,-1.9,69), (19,40.2,22.4,68.7), (68.4,40.2,71.8,92.1), (81.7,40.2,85.1,92.1), (108.6,40.2,112,159.6), (114.9,40.2,118.3,186.1), (121.1,40.2,124.5,252.8), (128.1,40.2,131.5,176), (-161.3,40.3,-157.9,258.5), (-133.8,40.3,-130.4,182.3), (-72.9,52.1,-69.5,123.3), (99.7,92.9,103.1,164.6), (47.4,96.3,50.8,125.7), (-41.8,97.2,-1.9,100.6), (-55.1,111.8,-1.9,115.2), (-69.5,119.9,-22,123.3), (-18.6,119.9,11.4,123.3), (8,131.6,99.7,135), (14.4,138.4,82.7,141.8), (79.3,141.8,82.7,164.6), (-18.2,145.2,74.3,148.6), (70.9,148.6,74.3,164.6), (-15.2,152,53.5,155.4), (50.1,155.4,53.5,164.6), (58.8,172.6,94.8,176), (128.1,176,131.5,258.5), (-147.5,205.6,-144.1,252.8), (-35.2,245.6,-31.8,252.8), (24.6,245.6,28,252.8)])
P(sram_2w2b_top, L20_0, [(98.2,172.6),(98.2,176),(98.2,176),(98.2,172.6)])
sram_2w2b_top.add(gdstk.Reference(decoder, (-118.1,171.7)))
sram_2w2b_top.add(gdstk.Reference(precharge, (62.2,187.9)))
sram_2w2b_top.add(gdstk.Reference(read_buffer, (55,81.7)))
sram_2w2b_top.add(gdstk.Reference(sram_2w2b, (383.1,-9998.1)))
sram_2w2b_top.add(gdstk.Reference(write_driver, (-16.7,94.6)))
sram_2w2b_top.add(gdstk.Reference(via_1_3, (12.7,160.5)))
sram_2w2b_top.add(gdstk.Reference(via_1_3, (6.3,160.5)))
sram_2w2b_top.add(gdstk.Reference(via_1_3, (-13.5,160.5)))
sram_2w2b_top.add(gdstk.Reference(via_1_3, (-19.9,160.5)))
sram_2w2b_top.add(gdstk.Reference(via_1_3, (-13.5,153.7)))
sram_2w2b_top.add(gdstk.Reference(via_1_3, (101.4,166.3)))
sram_2w2b_top.add(gdstk.Reference(via_1_3, (81,166.3)))
sram_2w2b_top.add(gdstk.Reference(via_1_3, (72.6,166.3)))
sram_2w2b_top.add(gdstk.Reference(via_1_3, (51.8,166.3)))
sram_2w2b_top.add(gdstk.Reference(via_1_3, (51.8,153.7)))
sram_2w2b_top.add(gdstk.Reference(via_1_3, (-13.5,153.7)))
sram_2w2b_top.add(gdstk.Reference(via_1_3, (49.1,94.6)))
sram_2w2b_top.add(gdstk.Reference(via_1_3, (51,124)))
sram_2w2b_top.add(gdstk.Reference(via_1_3, (104.3,94.6)))
sram_2w2b_top.add(gdstk.Reference(via_1_3, (110.3,161.3)))
sram_2w2b_top.add(gdstk.Reference(via_1_3, (70.1,93.8)))
sram_2w2b_top.add(gdstk.Reference(via_1_3, (-19.9,146.9)))
sram_2w2b_top.add(gdstk.Reference(via_1_3, (83.3,93.8)))
sram_2w2b_top.add(gdstk.Reference(via_1_3, (13.1,121.6)))
sram_2w2b_top.add(gdstk.Reference(via_1_3, (-3.6,114.7)))
sram_2w2b_top.add(gdstk.Reference(via_1_3, (-20.3,121.6)))
sram_2w2b_top.add(gdstk.Reference(via_1_3, (-3.6,97.5)))
sram_2w2b_top.add(gdstk.Reference(via_1_3, (20.7,70.4)))
sram_2w2b_top.add(gdstk.Reference(via_1_3, (-27.9,70.4)))
sram_2w2b_top.add(gdstk.Reference(via_1_3, (-3.6,70.7)))
sram_2w2b_top.add(gdstk.Reference(via_1_3, (57.1,174.3)))
sram_2w2b_top.add(gdstk.Reference(via_1_3, (96.5,174.3)))
sram_2w2b_top.add(gdstk.Reference(via_1_3, (12.7,140.1)))
sram_2w2b_top.add(gdstk.Reference(via_1_3, (-159.6,166.7)))
sram_2w2b_top.add(gdstk.Reference(via_1_3, (-137.6,190.7)))
sram_2w2b_top.add(gdstk.Reference(via_1_3, (-145.8,203.9)))
sram_2w2b_top.add(gdstk.Reference(via_1_3, (6.3,133.3)))
sram_2w2b_top.add(gdstk.Reference(via_1_3, (-132.1,184)))
sram_2w2b_top.add(gdstk.Reference(via_1_3, (116.6,187.8)))
sram_2w2b_top.add(gdstk.Reference(via_1_3, (-159.6,241.1)))
sram_2w2b_top.add(gdstk.Reference(via_1_3, (-159.6,64.7)))
sram_2w2b_top.add(gdstk.Reference(via_1_3, (-28.1,256.8)))
sram_2w2b_top.add(gdstk.Reference(via_1_3, (-3.6,256.8)))
sram_2w2b_top.add(gdstk.Reference(via_1_3, (20.9,256.8)))
sram_2w2b_top.add(gdstk.Reference(via_1_3, (-159.6,256.8)))
sram_2w2b_top.add(gdstk.Reference(via_1_3, (-145.8,251.1)))
sram_2w2b_top.add(gdstk.Reference(via_1_3, (-33.5,251.1)))
sram_2w2b_top.add(gdstk.Reference(via_1_3, (26.3,251.2)))
sram_2w2b_top.add(gdstk.Reference(via_1_3, (122.8,111.6)))
sram_2w2b_top.add(gdstk.Reference(via_1_3, (-145.8,53.8)))
sram_2w2b_top.add(gdstk.Reference(via_1_3, (-3.6,53.8)))
sram_2w2b_top.add(gdstk.Reference(via_1_3, (122.8,53.8)))
sram_2w2b_top.add(gdstk.Reference(via_1_3, (129.8,78.8)))
sram_2w2b_top.add(gdstk.Reference(via_1_3, (129.8,174.3)))
sram_2w2b_top.add(gdstk.Reference(via_1_3, (122.8,194.9)))
sram_2w2b_top.add(gdstk.Reference(via_1_3, (122.8,251.1)))
sram_2w2b_top.add(gdstk.Reference(via_1_3, (129.8,256.8)))
sram_2w2b_top.add(gdstk.Reference(via_1_3, (-71.2,53.8)))
sram_2w2b_top.add(gdstk.Label('EQEN', (110.5,41.6), layer=49, texttype=0))
sram_2w2b_top.add(gdstk.Label('DOUT0', (70,41.1), layer=49, texttype=0))
sram_2w2b_top.add(gdstk.Label('DOUT1', (83.5,41.1), layer=49, texttype=0))
sram_2w2b_top.add(gdstk.Label('WE', (-56.7,40.9), layer=49, texttype=0))
sram_2w2b_top.add(gdstk.Label('WEB', (-43.2,40.9), layer=49, texttype=0))
sram_2w2b_top.add(gdstk.Label('DIN0', (-27.9,40.9), layer=49, texttype=0))
sram_2w2b_top.add(gdstk.Label('DIN1', (20.8,41.2), layer=49, texttype=0))
sram_2w2b_top.add(gdstk.Label('VDD', (-3.5,40.9), layer=49, texttype=0))
sram_2w2b_top.add(gdstk.Label('PCB', (116.5,41.6), layer=49, texttype=0))
sram_2w2b_top.add(gdstk.Label('VSS', (-159.5,41), layer=49, texttype=0))
sram_2w2b_top.add(gdstk.Label('VDD', (-145.8,40.7), layer=49, texttype=0))
sram_2w2b_top.add(gdstk.Label('A0', (-137.6,40.9), layer=49, texttype=0))
sram_2w2b_top.add(gdstk.Label('WLE', (-132.1,41), layer=49, texttype=0))
sram_2w2b_top.add(gdstk.Label('VDD', (122.8,41.5), layer=49, texttype=0))
sram_2w2b_top.add(gdstk.Label('VSS', (129.6,41.3), layer=49, texttype=0))

lib.write_gds('sram_2w2b_top.gds')
